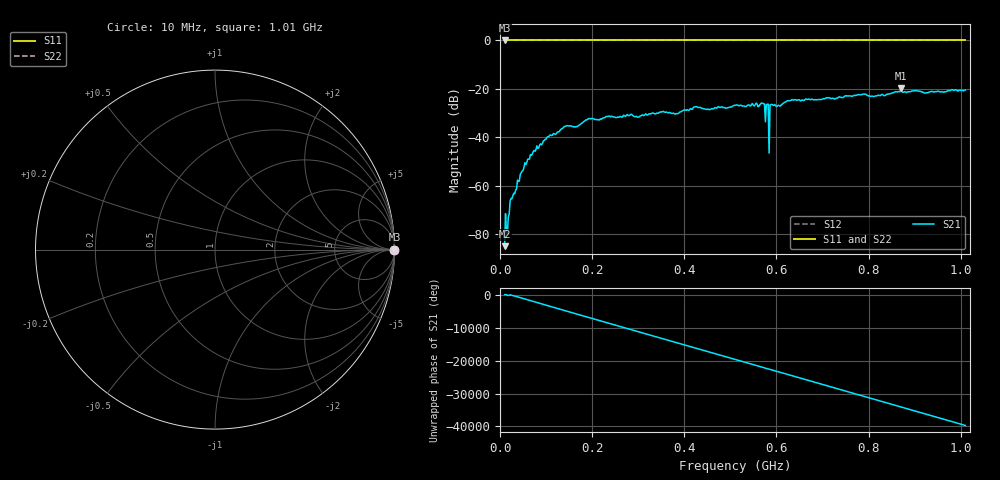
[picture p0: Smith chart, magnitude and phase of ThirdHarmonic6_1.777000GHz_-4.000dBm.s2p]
! 8/16/2025 9:28:21 PM
! C:\ANRITSUVNA\TEMP\TEMP.S2P
! CHANNEL.1
! TR.MEASUREMENT
! RAW.DATA
! RF.CORRECTION.OFF
! AVERAGING.OFF
! IF.BANDWIDTH: 5KHZ
! SWEEPTYPE:  FREQ.SWEEP(Linear)
! Reference Plane Port Info
! PORT:  PORT1  PORT2
! DISTANCE:  0  m  0  m
! TIME:  0  s  0  s
! PHASE.OFFSET:  0  deg.  0  deg.
! LOSS:  0  dB  0  dB
! REF.LOSS:  0  dB  0  dB
! REF.FREQ:  0  Hz  0  Hz
! Power Info
! POWER:  -20  dBm  -20  dBm
! EFF.POWER:  -20  dBm  -20  dBm
! SOURCE.ATTEN:  0  dB  0  dB
! TEST.ATTEN:  0  dB  0  dB
# GHZ S RI R 50.0
! FREQ.GHZ  S11RE  S11IM  S21RE  S21IM  S12RE  S12IM  S22RE  S22IM
!; PortSelection: Port_12
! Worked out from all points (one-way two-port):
!   501 points, 10 MHz to 1.01 GHz, reference 50 ohm
!   highest |S21| = -19.80 dB at 870 MHz (marker M1); lowest = -85.0 dB at 10 MHz (marker M2)
!   lowest |S11| = 0.0 dB at 10 MHz (marker M3)
!   |S11| at or under -10 dB: nowhere
!   |S22| runs from 0.0 to 0.0 dB; largest |S21 - S12| = 1.1
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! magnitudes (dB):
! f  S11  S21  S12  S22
! 10 MHz  0.0  -85.0  0.0  0.0
! 18 MHz  0.0  -73.1  0.0  0.0
! 26 MHz  0.0  -65.4  0.0  0.0
! 50 MHz  0.0  -53.7  0.0  0.0
! 70 MHz  0.0  -47.0  0.0  0.0
! 106 MHz  0.0  -39.7  0.0  0.0
! 142 MHz  0.0  -35.5  0.0  0.0
! 178 MHz  0.0  -34.2  0.0  0.0
! 196 MHz  0.0  -32.4  0.0  0.0
! 344 MHz  0.0  -30.0  0.0  0.0
! 382 MHz  0.0  -30.2  0.0  0.0
! 424 MHz  0.0  -27.4  0.0  0.0
! 510 MHz  0.0  -26.8  0.0  0.0
! 570 MHz  0.0  -26.0  0.0  0.0
! 578 MHz  0.0  -26.4  0.0  0.0
! 580 MHz  0.0  -26.4  0.0  0.0
! 588 MHz  0.0  -26.5  0.0  0.0
! 590 MHz  0.0  -26.4  0.0  0.0
! 678 MHz  0.0  -24.4  0.0  0.0
! 844 MHz  0.0  -22.2  0.0  0.0
! 870 MHz  0.0  -19.8  0.0  0.0
! 1.01 GHz  0.0  -20.5  0.0  0.0
